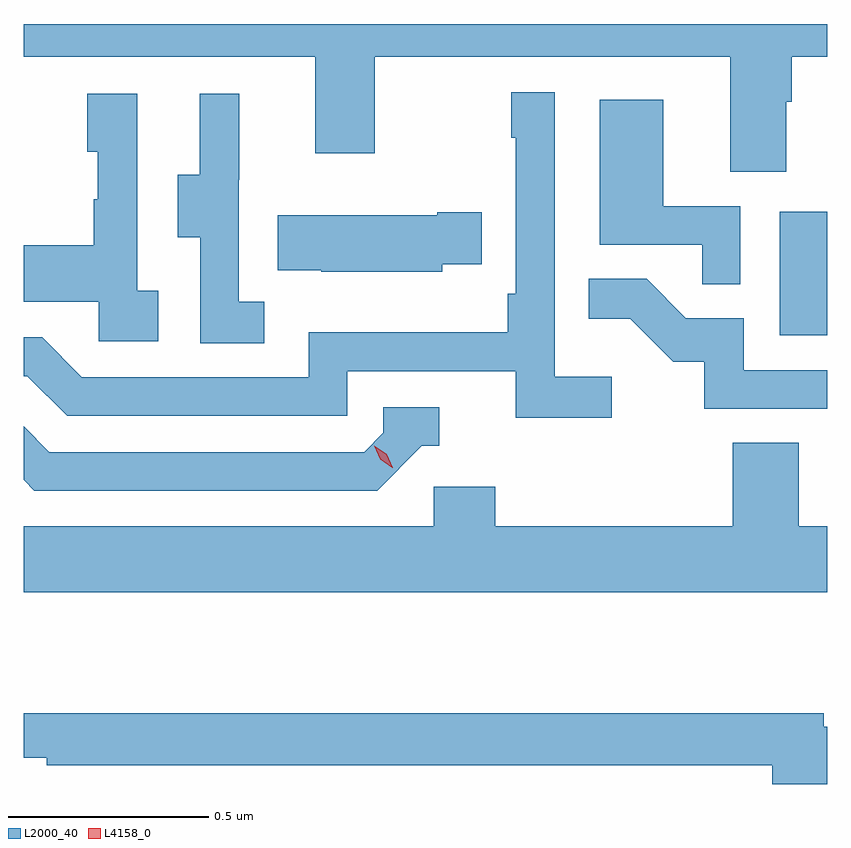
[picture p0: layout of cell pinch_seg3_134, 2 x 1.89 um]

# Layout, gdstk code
import gdstk
lib = gdstk.Library(unit=1e-6, precision=1e-09)
def R(c, l, rs):  # rectangles x0, y0, x1, y1
    for r in rs: c.add(gdstk.rectangle(r[:2], r[2:], *l))
def P(c, l, *ps):  # polygons
    for p in ps: c.add(gdstk.Polygon(p, *l))
L2000_40 = (2000, 40)
L4158_0 = (4158, 0)

pinch_seg3_134 = lib.new_cell('pinch_seg3_134')
R(pinch_seg3_134, L2000_40, [(1121.738,709.548,1121.857,709.855)])
P(pinch_seg3_134, L2000_40, [(1121.755,710.128),(1121.768,710.128),(1121.768,710.24),(1121.857,710.24),(1121.857,710.322),(1119.857,710.322),(1119.857,710.24),(1120.583,710.24),(1120.583,710.001),(1120.731,710.001),(1120.731,710.24),(1121.615,710.24),(1121.615,709.954),(1121.755,709.954)],
  [(1121.32,709.444),(1121.178,709.444),(1121.178,710.152),(1121.07,710.152),(1121.07,710.039),(1121.082,710.039),(1121.082,709.651),(1121.062,709.651),(1121.062,709.555),(1120.566,709.555),(1120.566,709.443),(1120.002,709.443),(1119.903,709.542),(1119.857,709.542),(1119.857,709.446),(1119.866,709.446),(1119.965,709.347),(1120.662,709.347),(1120.662,709.458),(1121.081,709.458),(1121.081,709.342),(1121.32,709.342)],
  [(1120.192,709.658),(1120.14,709.658),(1120.14,710.149),(1120.016,710.149),(1120.016,710.004),(1120.042,710.004),(1120.042,709.886),(1120.032,709.886),(1120.032,709.771),(1119.857,709.771),(1119.857,709.631),(1120.044,709.631),(1120.044,709.533),(1120.192,709.533)],
  [(1120.456,709.631),(1120.392,709.631),(1120.392,709.935),(1120.394,709.935),(1120.394,710.149),(1120.295,710.149),(1120.295,709.947),(1120.241,709.947),(1120.241,709.792),(1120.296,709.792),(1120.296,709.528),(1120.456,709.528)],
  [(1121.64,709.869),(1121.449,709.869),(1121.449,710.134),(1121.291,710.134),(1121.291,709.773),(1121.545,709.773),(1121.545,709.675),(1121.64,709.675)],
  [(1120.899,709.724),(1120.997,709.724),(1120.997,709.854),(1120.886,709.854),(1120.886,709.846),(1120.489,709.846),(1120.489,709.709),(1120.597,709.709),(1120.597,709.706),(1120.899,709.706)],
  [(1121.857,709.461),(1121.649,709.461),(1121.649,709.59),(1121.505,709.59),(1121.407,709.688),(1121.263,709.688),(1121.263,709.589),(1121.367,709.589),(1121.474,709.482),(1121.551,709.482),(1121.551,709.365),(1121.857,709.365)],
  [(1120.848,709.272),(1120.891,709.272),(1120.891,709.368),(1120.752,709.368),(1120.752,709.305),(1120.704,709.257),(1119.921,709.257),(1119.857,709.321),(1119.857,709.188),(1119.884,709.161),(1120.737,709.161)],
  [(1121.857,709.072),(1121.786,709.072),(1121.786,709.28),(1121.621,709.28),(1121.621,709.072),(1121.03,709.072),(1121.03,709.17),(1120.878,709.17),(1120.878,709.072),(1119.857,709.072),(1119.857,708.908),(1121.857,708.908)],
  [(1121.857,708.573),(1121.848,708.573),(1121.848,708.607),(1119.857,708.607),(1119.857,708.496),(1119.914,708.496),(1119.914,708.478),(1121.72,708.478),(1121.72,708.431),(1121.857,708.431)])
P(pinch_seg3_134, L4158_0, [(1120.774,709.218),(1120.744,709.239),(1120.729,709.272),(1120.729,709.272),(1120.729,709.272),(1120.76,709.252),(1120.775,709.218),(1120.775,709.218)])

lib.write_gds('pinch_seg3_134.gds')
